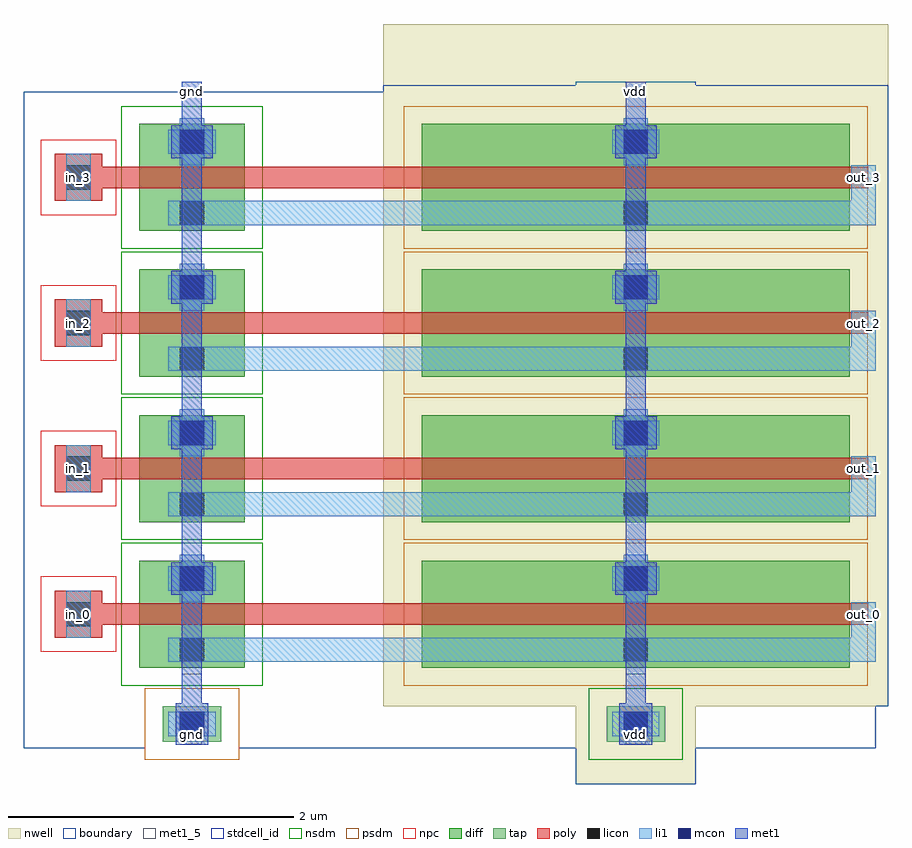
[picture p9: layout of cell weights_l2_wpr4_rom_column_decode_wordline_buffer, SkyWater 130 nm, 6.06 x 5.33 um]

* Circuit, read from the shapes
.subckt weights_l2_wpr4_rom_column_decode_wordline_buffer gnd in_0 in_1 in_2 in_3 out_0 out_1 out_2 out_3 vdd
XM1 gnd in_0 out_0 gnd sky130_fd_pr__nfet_01v8 w=0.74 l=0.15
XM2 gnd in_1 out_1 gnd sky130_fd_pr__nfet_01v8 w=0.74 l=0.15
XM3 gnd in_2 out_2 gnd sky130_fd_pr__nfet_01v8 w=0.74 l=0.15
XM4 gnd in_3 out_3 gnd sky130_fd_pr__nfet_01v8 w=0.74 l=0.15
XM5 vdd in_0 out_0 vdd sky130_fd_pr__pfet_01v8 w=3 l=0.15
XM6 vdd in_1 out_1 vdd sky130_fd_pr__pfet_01v8 w=3 l=0.15
XM7 vdd in_2 out_2 vdd sky130_fd_pr__pfet_01v8 w=3 l=0.15
XM8 vdd in_3 out_3 vdd sky130_fd_pr__pfet_01v8 w=3 l=0.15
.ends

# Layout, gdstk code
from math import pi, radians
import gdstk
lib = gdstk.Library(unit=1e-6, precision=1e-09)
def R(c, l, rs):  # rectangles x0, y0, x1, y1
    for r in rs: c.add(gdstk.rectangle(r[:2], r[2:], *l))
def A(c, l, x, y, w, h, nx, ny, dx, dy):  # array of equal rectangles
    R(c, l, [(x+i*dx, y+j*dy, x+i*dx+w, y+j*dy+h) for i in range(nx) for j in range(ny)])
nwell = (64, 20)
diff = (65, 20)
tap = (65, 44)
poly = (66, 20)
licon = (66, 44)
li1 = (67, 20)
mcon = (67, 44)
met1_5 = (68, 5)
met1 = (68, 20)
stdcell_id = (81, 4)
nsdm = (93, 44)
psdm = (94, 20)
npc = (95, 20)
boundary = (235, 4)

weights_l2_wpr4_contact_ = lib.new_cell('weights_l2_wpr4_contact_10')
R(weights_l2_wpr4_contact_, nwell, [(-0.295,-0.255,0.545,0.585)])
R(weights_l2_wpr4_contact_, diff, [(0,0.02,0.25,0.31)])
R(weights_l2_wpr4_contact_, licon, [(0.04,0.08,0.21,0.25)])
R(weights_l2_wpr4_contact_, li1, [(0.04,0,0.21,0.33)])
R(weights_l2_wpr4_contact_, stdcell_id, [(-0.295,-0.255,0.545,0.585)])
R(weights_l2_wpr4_contact_, psdm, [(-0.125,-0.105,0.375,0.435)])
R(weights_l2_wpr4_contact_, boundary, [(-0.295,-0.255,0.545,0.585)])

weights_l2_wpr4_pmos_m1_ = lib.new_cell('weights_l2_wpr4_pmos_m1_w3_000_sli_dli_da_p')
R(weights_l2_wpr4_pmos_m1_, nwell, [(-0.27,-0.27,1.02,3.27)])
R(weights_l2_wpr4_pmos_m1_, diff, [(0,0,0.75,3)])
R(weights_l2_wpr4_pmos_m1_, poly, [(0.3,-0.13,0.45,3.13), (0.3,-0.13,0.45,3.13)])
R(weights_l2_wpr4_pmos_m1_, li1, [(0.04,1.335,0.21,1.665), (0.54,1.335,0.71,1.665)])
R(weights_l2_wpr4_pmos_m1_, stdcell_id, [(-0.27,-0.27,1.02,3.27)])
R(weights_l2_wpr4_pmos_m1_, psdm, [(-0.125,-0.125,0.875,3.125)])
R(weights_l2_wpr4_pmos_m1_, boundary, [(-0.27,-0.27,1.02,3.27)])
weights_l2_wpr4_pmos_m1_.add(gdstk.Reference(weights_l2_wpr4_contact_, (0,1.335)))
weights_l2_wpr4_pmos_m1_.add(gdstk.Reference(weights_l2_wpr4_contact_, (0.5,1.335)))
weights_l2_wpr4_pmos_m1_.add(gdstk.Label('G', (0.375,1.5), layer=66, texttype=5))
weights_l2_wpr4_pmos_m1_.add(gdstk.Label('S', (0.125,1.5), layer=67, texttype=5))
weights_l2_wpr4_pmos_m1_.add(gdstk.Label('D', (0.625,1.5), layer=67, texttype=5))

c_weights_l2_wpr4_contact_ = lib.new_cell('weights_l2_wpr4_contact_8')
R(c_weights_l2_wpr4_contact_, diff, [(0,0.02,0.25,0.31)])
R(c_weights_l2_wpr4_contact_, licon, [(0.04,0.08,0.21,0.25)])
R(c_weights_l2_wpr4_contact_, li1, [(0.04,0,0.21,0.33)])
R(c_weights_l2_wpr4_contact_, stdcell_id, [(-0.125,-0.105,0.375,0.435)])
R(c_weights_l2_wpr4_contact_, nsdm, [(-0.125,-0.105,0.375,0.435)])
R(c_weights_l2_wpr4_contact_, boundary, [(-0.125,-0.105,0.375,0.435)])

weights_l2_wpr4_nmos_m1_ = lib.new_cell('weights_l2_wpr4_nmos_m1_w0_740_sli_dli_da_p')
R(weights_l2_wpr4_nmos_m1_, diff, [(0,0,0.75,0.74)])
R(weights_l2_wpr4_nmos_m1_, poly, [(0.3,-0.13,0.45,0.87), (0.3,-0.13,0.45,0.87)])
R(weights_l2_wpr4_nmos_m1_, li1, [(0.04,0.205,0.21,0.535), (0.54,0.205,0.71,0.535)])
R(weights_l2_wpr4_nmos_m1_, stdcell_id, [(-0.125,-0.13,0.875,0.87)])
R(weights_l2_wpr4_nmos_m1_, nsdm, [(-0.125,-0.125,0.875,0.865)])
R(weights_l2_wpr4_nmos_m1_, boundary, [(-0.125,-0.13,0.875,0.87)])
weights_l2_wpr4_nmos_m1_.add(gdstk.Reference(c_weights_l2_wpr4_contact_, (0,0.205)))
weights_l2_wpr4_nmos_m1_.add(gdstk.Reference(c_weights_l2_wpr4_contact_, (0.5,0.205)))
weights_l2_wpr4_nmos_m1_.add(gdstk.Label('G', (0.375,0.37), layer=66, texttype=5))
weights_l2_wpr4_nmos_m1_.add(gdstk.Label('S', (0.125,0.37), layer=67, texttype=5))
weights_l2_wpr4_nmos_m1_.add(gdstk.Label('D', (0.625,0.37), layer=67, texttype=5))

c_weights_l2_wpr4_contact__ = lib.new_cell('weights_l2_wpr4_contact_11')
R(c_weights_l2_wpr4_contact__, poly, [(0,0,0.33,0.33)])
R(c_weights_l2_wpr4_contact__, licon, [(0.08,0.08,0.25,0.25)])
R(c_weights_l2_wpr4_contact__, li1, [(0.08,0,0.25,0.33)])
R(c_weights_l2_wpr4_contact__, stdcell_id, [(-0.1,-0.1,0.43,0.43)])
R(c_weights_l2_wpr4_contact__, npc, [(-0.1,-0.1,0.43,0.43)])
R(c_weights_l2_wpr4_contact__, boundary, [(-0.1,-0.1,0.43,0.43)])

c_weights_l2_wpr4_contact___ = lib.new_cell('weights_l2_wpr4_contact_12')
R(c_weights_l2_wpr4_contact___, li1, [(0.06,0,0.23,0.33)])
R(c_weights_l2_wpr4_contact___, mcon, [(0.06,0.08,0.23,0.25)])
R(c_weights_l2_wpr4_contact___, met1, [(0,0.05,0.29,0.28)])
R(c_weights_l2_wpr4_contact___, stdcell_id, [(0,0,0.29,0.33)])
R(c_weights_l2_wpr4_contact___, boundary, [(0,0,0.29,0.33)])

weights_l2_wpr4_pinv_dec = lib.new_cell('weights_l2_wpr4_pinv_dec_2')
R(weights_l2_wpr4_pinv_dec, nwell, [(2.52,0,6.06,1.495)])
R(weights_l2_wpr4_pinv_dec, poly, [(0.385,0.345,0.68,0.495), (1.68,0.345,2.66,0.495)])
R(weights_l2_wpr4_pinv_dec, li1, [(1.015,0.085,5.97,0.255), (0.3,0.255,0.47,0.585)])
R(weights_l2_wpr4_pinv_dec, met1_5, [(1.11,0,1.25,1.02), (4.22,0,4.36,1.02)])
R(weights_l2_wpr4_pinv_dec, met1, [(1.11,0,1.25,1.02), (4.22,0,4.36,1.02)])
R(weights_l2_wpr4_pinv_dec, stdcell_id, [(0,0,5.97,1.02), (0,0,5.97,1.02)])
R(weights_l2_wpr4_pinv_dec, nsdm, [(0.685,0,1.675,0.795)])
R(weights_l2_wpr4_pinv_dec, psdm, [(2.665,0,5.915,0.795)])
R(weights_l2_wpr4_pinv_dec, boundary, [(0,0,5.97,1.02), (0,0,5.97,1.02)])
weights_l2_wpr4_pinv_dec.add(gdstk.Reference(weights_l2_wpr4_pmos_m1_, (2.79,0.795), rotation=3*pi/2))
weights_l2_wpr4_pinv_dec.add(gdstk.Reference(weights_l2_wpr4_nmos_m1_, (0.81,0.795), rotation=3*pi/2))
weights_l2_wpr4_pinv_dec.add(gdstk.Reference(c_weights_l2_wpr4_contact__, (0.22,0.255)))
weights_l2_wpr4_pinv_dec.add(gdstk.Reference(c_weights_l2_wpr4_contact___, (1.035,0.505)))
weights_l2_wpr4_pinv_dec.add(gdstk.Reference(c_weights_l2_wpr4_contact___, (4.145,0.505)))
weights_l2_wpr4_pinv_dec.add(gdstk.Label('A', (0.385,0.42), layer=67, texttype=5))
weights_l2_wpr4_pinv_dec.add(gdstk.Label('Z', (3.492,0.17), layer=67, texttype=5))
weights_l2_wpr4_pinv_dec.add(gdstk.Label('gnd', (1.18,0.51), layer=68, texttype=5))
weights_l2_wpr4_pinv_dec.add(gdstk.Label('vdd', (4.29,0.51), layer=68, texttype=5))

c_weights_l2_wpr4_contact____ = lib.new_cell('weights_l2_wpr4_contact_15')
R(c_weights_l2_wpr4_contact____, nwell, [(-0.215,-0.295,0.625,0.545)])
R(c_weights_l2_wpr4_contact____, tap, [(0,0,0.41,0.25)])
R(c_weights_l2_wpr4_contact____, licon, [(0.12,0.04,0.29,0.21)])
R(c_weights_l2_wpr4_contact____, li1, [(0.04,0.04,0.37,0.21)])
R(c_weights_l2_wpr4_contact____, stdcell_id, [(-0.215,-0.295,0.625,0.545)])
R(c_weights_l2_wpr4_contact____, nsdm, [(-0.125,-0.125,0.535,0.375)])
R(c_weights_l2_wpr4_contact____, boundary, [(-0.215,-0.295,0.625,0.545)])

c_weights_l2_wpr4_contact_____ = lib.new_cell('weights_l2_wpr4_contact_17')
R(c_weights_l2_wpr4_contact_____, li1, [(0,0.06,0.33,0.23)])
R(c_weights_l2_wpr4_contact_____, mcon, [(0.08,0.06,0.25,0.23)])
R(c_weights_l2_wpr4_contact_____, met1, [(0.05,0,0.28,0.29)])
R(c_weights_l2_wpr4_contact_____, stdcell_id, [(0,0,0.33,0.29)])
R(c_weights_l2_wpr4_contact_____, boundary, [(0,0,0.33,0.29)])

c_weights_l2_wpr4_contact______ = lib.new_cell('weights_l2_wpr4_contact_16')
R(c_weights_l2_wpr4_contact______, tap, [(0,0,0.41,0.25)])
R(c_weights_l2_wpr4_contact______, licon, [(0.12,0.04,0.29,0.21)])
R(c_weights_l2_wpr4_contact______, li1, [(0.04,0.04,0.37,0.21)])
R(c_weights_l2_wpr4_contact______, stdcell_id, [(-0.125,-0.125,0.535,0.375)])
R(c_weights_l2_wpr4_contact______, psdm, [(-0.125,-0.125,0.535,0.375)])
R(c_weights_l2_wpr4_contact______, boundary, [(-0.125,-0.125,0.535,0.375)])

weights_l2_wpr4_rom_colu = lib.new_cell('weights_l2_wpr4_rom_column_decode_wordline_buffer')
A(weights_l2_wpr4_rom_colu, li1, 5.8, 0.69, 0.17, 0.335, 1, 4, 0, 1.02)
A(weights_l2_wpr4_rom_colu, li1, 0.3, 0.775, 0.17, 0.33, 1, 4, 0, 1.02)
A(weights_l2_wpr4_rom_colu, li1, 5.8, 0.855, 0.17, 0.17, 1, 4, 0, 1.02)
R(weights_l2_wpr4_rom_colu, met1_5, [(1.11,0.03,1.25,0.17), (4.22,0.03,4.36,0.17), (1.11,4.53,1.25,4.67), (4.22,4.53,4.36,4.67)])
A(weights_l2_wpr4_rom_colu, met1, 1.11, 0.96, 0.14, 0.14, 1, 4, 0, 1.02)
A(weights_l2_wpr4_rom_colu, met1, 4.22, 0.96, 0.14, 0.14, 1, 4, 0, 1.02)
R(weights_l2_wpr4_rom_colu, met1, [(1.11,0.03,1.25,0.17), (1.11,0.03,1.25,4.67), (4.22,0.03,4.36,0.17), (4.22,0.03,4.36,4.67), (1.11,0.1,1.25,0.24), (4.22,0.1,4.36,0.24), (1.11,4.53,1.25,4.67), (4.22,4.53,4.36,4.67)])
R(weights_l2_wpr4_rom_colu, stdcell_id, [(0,0,5.97,4.08)])
R(weights_l2_wpr4_rom_colu, boundary, [(0,0,5.97,4.08)])
weights_l2_wpr4_rom_colu.add(gdstk.Reference(weights_l2_wpr4_pinv_dec, (0,0.52)))
weights_l2_wpr4_rom_colu.add(gdstk.Reference(weights_l2_wpr4_pinv_dec, (0,1.54)))
weights_l2_wpr4_rom_colu.add(gdstk.Reference(weights_l2_wpr4_pinv_dec, (0,2.56)))
weights_l2_wpr4_rom_colu.add(gdstk.Reference(weights_l2_wpr4_pinv_dec, (0,3.58)))
weights_l2_wpr4_rom_colu.add(gdstk.Reference(c_weights_l2_wpr4_contact____, (4.085,0.045)))
weights_l2_wpr4_rom_colu.add(gdstk.Reference(c_weights_l2_wpr4_contact_____, (4.125,0.025)))
weights_l2_wpr4_rom_colu.add(gdstk.Reference(c_weights_l2_wpr4_contact______, (0.975,0.045)))
weights_l2_wpr4_rom_colu.add(gdstk.Reference(c_weights_l2_wpr4_contact_____, (1.015,0.025)))
weights_l2_wpr4_rom_colu.add(gdstk.Label('in_0', (0.385,0.94), layer=67, texttype=5))
weights_l2_wpr4_rom_colu.add(gdstk.Label('out_0', (5.885,0.94), layer=67, texttype=5))
weights_l2_wpr4_rom_colu.add(gdstk.Label('in_1', (0.385,1.96), layer=67, texttype=5))
weights_l2_wpr4_rom_colu.add(gdstk.Label('out_1', (5.885,1.96), layer=67, texttype=5))
weights_l2_wpr4_rom_colu.add(gdstk.Label('in_2', (0.385,2.98), layer=67, texttype=5))
weights_l2_wpr4_rom_colu.add(gdstk.Label('out_2', (5.885,2.98), layer=67, texttype=5))
weights_l2_wpr4_rom_colu.add(gdstk.Label('in_3', (0.385,4), layer=67, texttype=5))
weights_l2_wpr4_rom_colu.add(gdstk.Label('out_3', (5.885,4), layer=67, texttype=5))
weights_l2_wpr4_rom_colu.add(gdstk.Label('gnd', (1.18,4.6), layer=68, texttype=5))
weights_l2_wpr4_rom_colu.add(gdstk.Label('gnd', (1.18,0.1), layer=68, texttype=5))
weights_l2_wpr4_rom_colu.add(gdstk.Label('vdd', (4.29,4.6), layer=68, texttype=5))
weights_l2_wpr4_rom_colu.add(gdstk.Label('vdd', (4.29,0.1), layer=68, texttype=5))

lib.write_gds('weights_l2_wpr4_rom_column_decode_wordline_buffer.gds')
